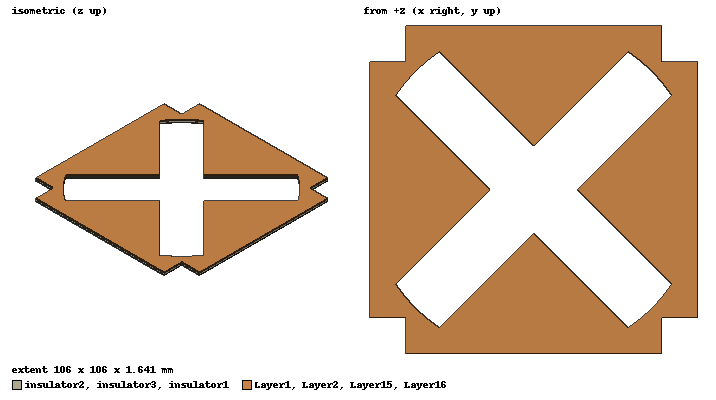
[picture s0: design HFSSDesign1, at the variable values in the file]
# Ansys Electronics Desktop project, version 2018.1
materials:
  vacuum: permittivity=1
  copper: permeability=0.999991 conductivity=58000000
  FR4_epoxy: permittivity=4.4 dielectric_loss_tangent=0.02

design HFSSDesign1 (HFSS, DrivenModal, model units mm)
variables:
  zC = -1
  p = 0
  radius = 54mm
  xcut = 20mm
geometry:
  Layer1 [copper] = box(corner=(-53mm, -53mm, 0mm-p*20*10mm+(1-p)*1.641mm), size=(106mm, 106mm, -0.0356mm))
  insulator1 [FR4_epoxy] = box(corner=(-53mm, -53mm, -0.0356mm-p*20*10mm+(1-p)*1.641mm), size=(106mm, 106mm, -0.1702mm))
  Layer15 [copper] = box(corner=(-53mm, -53mm, -0.2058mm-p*20*10mm+(1-p)*1.641mm), size=(106mm, 106mm, -0.0178mm))
  insulator2 [FR4_epoxy] = box(corner=(-53mm, -53mm, -0.2236mm-p*20*10mm+(1-p)*1.641mm), size=(106mm, 106mm, -1.1938mm))
  Layer16 [copper] = box(corner=(-53mm, -53mm, -1.4174mm-p*20*10mm+(1-p)*1.641mm), size=(106mm, 106mm, -0.0178mm))
  insulator3 [FR4_epoxy] = box(corner=(-53mm, -53mm, -1.4352mm-p*20*10mm+(1-p)*1.641mm), size=(106mm, 106mm, -0.1702mm))
  Layer2 [copper] = box(corner=(-53mm, -53mm, -1.6054mm-p*20*10mm+(1-p)*1.641mm), size=(106mm, 106mm, -0.0356mm))
  Corner1 = box(corner=(53mm, 53mm, 0mm-p*20*10mm-(p)*1.641mm), size=(-11.5mm, -11.5mm, 1.641mm))
  Corner2 = box(corner=(53mm, -53mm, 0mm-p*20*10mm-(p)*1.641mm), size=(-11.5mm, 11.5mm, 1.641mm))
  Corner3 = box(corner=(-53mm, -53mm, 0mm-p*20*10mm-(p)*1.641mm), size=(11.5mm, 11.5mm, 1.641mm))
  Corner4 = box(corner=(-53mm, 53mm, 0mm-p*20*10mm-(p)*1.641mm), size=(11.5mm, -11.5mm, 1.641mm))
  Cylinder1 = cylinder(axis=Z, base_centre=(0mm, 0mm, 0mm-p*20*10mm-(p)*1.641mm), radius=radius, height=1.641mm)
  Box1 = box(corner=(xcut/2, 70mm, 0mm), size=(-xcut, -140mm, 1.641mm))
  Box1_1 = Box1.duplicate_around_axis(axis=Z, angle=90deg, total=2)
  Box1_1.unite(Box1)
  Box1_1.intersect(Cylinder1)
  Box1_1.rotate(axis=Z, angle=45deg)
  Box1_1_1 = Box1_1.copy()
  Corner1_1 = Corner1.copy()
  Corner2_1 = Corner2.copy()
  Corner3_1 = Corner3.copy()
  Corner4_1 = Corner4.copy()
  insulator1.subtract(Box1_1_1, Corner1_1, Corner2_1, Corner3_1, Corner4_1)
  Box1_1_2 = Box1_1.copy()
  Corner1_2 = Corner1.copy()
  Corner2_2 = Corner2.copy()
  Corner3_2 = Corner3.copy()
  Corner4_2 = Corner4.copy()
  insulator2.subtract(Box1_1_2, Corner1_2, Corner2_2, Corner3_2, Corner4_2)
  Box1_1_3 = Box1_1.copy()
  Corner1_3 = Corner1.copy()
  Corner2_3 = Corner2.copy()
  Corner3_3 = Corner3.copy()
  Corner4_3 = Corner4.copy()
  insulator3.subtract(Box1_1_3, Corner1_3, Corner2_3, Corner3_3, Corner4_3)
  Box1_1_4 = Box1_1.copy()
  Corner1_4 = Corner1.copy()
  Corner2_4 = Corner2.copy()
  Corner3_4 = Corner3.copy()
  Corner4_4 = Corner4.copy()
  Layer1.subtract(Box1_1_4, Corner1_4, Corner2_4, Corner3_4, Corner4_4)
  Box1_1_5 = Box1_1.copy()
  Corner1_5 = Corner1.copy()
  Corner2_5 = Corner2.copy()
  Corner3_5 = Corner3.copy()
  Corner4_5 = Corner4.copy()
  Layer15.subtract(Box1_1_5, Corner1_5, Corner2_5, Corner3_5, Corner4_5)
  Box1_1_6 = Box1_1.copy()
  Corner1_6 = Corner1.copy()
  Corner2_6 = Corner2.copy()
  Corner3_6 = Corner3.copy()
  Corner4_6 = Corner4.copy()
  Layer16.subtract(Box1_1_6, Corner1_6, Corner2_6, Corner3_6, Corner4_6)
  Layer2.subtract(Box1_1, Corner1..Corner4)
